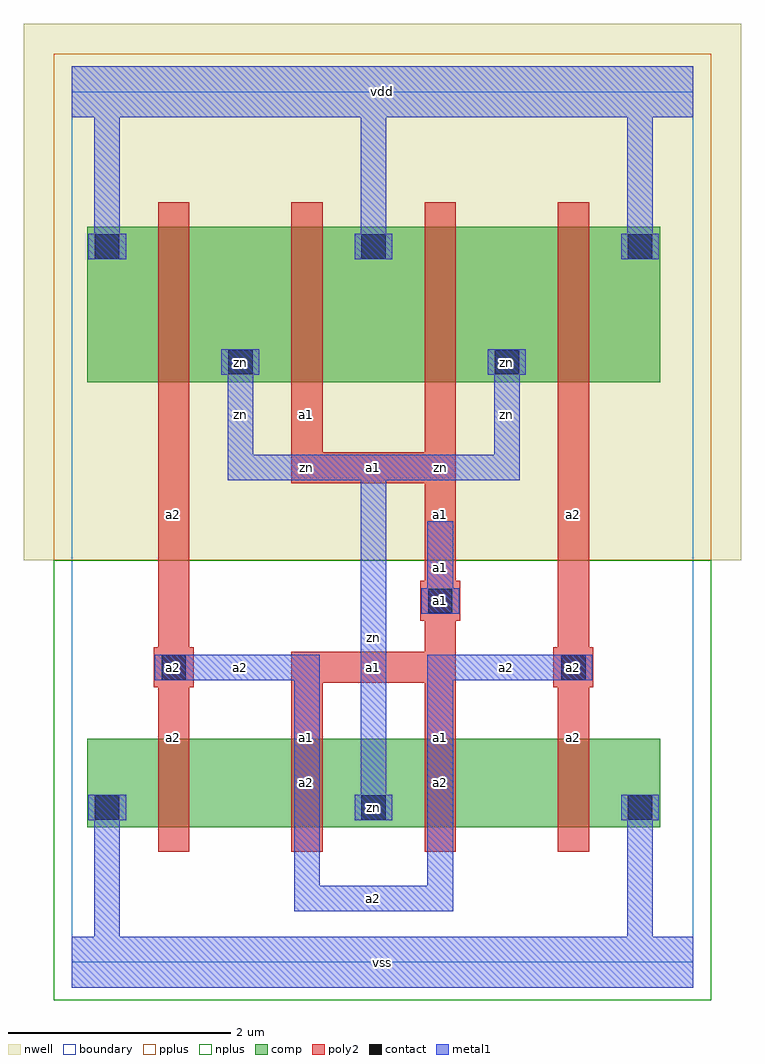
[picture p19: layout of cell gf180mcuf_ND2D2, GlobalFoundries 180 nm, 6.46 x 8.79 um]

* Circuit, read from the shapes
.subckt gf180mcuf_ND2D2 a1 a2 vdd vss zn
XM1 n1 a2 vss VSUBS nfet_03v3 w=0.8u l=0.28u
XM2 zn a1 n1 VSUBS nfet_03v3 w=0.8u l=0.28u
XM3 n2 a1 zn VSUBS nfet_03v3 w=0.8u l=0.28u
XM4 vss a2 n2 VSUBS nfet_03v3 w=0.8u l=0.28u
XM5 zn a2 vdd n3 pfet_03v3 w=1.4u l=0.28u m=2
XM6 vdd a1 zn n3 pfet_03v3 w=1.4u l=0.28u m=2
.ends

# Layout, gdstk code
import gdstk
lib = gdstk.Library(unit=1e-6, precision=1e-09)
def R(c, l, rs):  # rectangles x0, y0, x1, y1
    for r in rs: c.add(gdstk.rectangle(r[:2], r[2:], *l))
def A(c, l, x, y, w, h, nx, ny, dx, dy):  # array of equal rectangles
    R(c, l, [(x+i*dx, y+j*dy, x+i*dx+w, y+j*dy+h) for i in range(nx) for j in range(ny)])
boundary = (0, 0)
nwell = (21, 0)
comp = (22, 0)
poly2 = (30, 0)
pplus = (31, 0)
nplus = (32, 0)
contact = (33, 0)
metal1 = (34, 0)

gf180mcuf_nd2d2 = lib.new_cell('gf180mcuf_ND2D2')
R(gf180mcuf_nd2d2, boundary, [(0,0,5.6,7.84)])
R(gf180mcuf_nd2d2, nwell, [(-0.43,3.62,6.03,8.45)])
A(gf180mcuf_nd2d2, comp, 0.14, 1.215, 1.56, 0.8, 4, 1, 1.2, 0)
A(gf180mcuf_nd2d2, comp, 0.14, 1.215, 0.36, 0.36, 3, 2, 2.4, 5.05)
A(gf180mcuf_nd2d2, comp, 0.14, 5.225, 1.56, 1.4, 4, 1, 1.2, 0)
R(gf180mcuf_nd2d2, comp, [(1.34,5.225,1.7,5.585), (3.74,5.225,4.1,5.585)])
A(gf180mcuf_nd2d2, poly2, 0.78, 0.995, 0.28, 1.24, 4, 1, 1.2, 0)
A(gf180mcuf_nd2d2, poly2, 0.78, 1.255, 0.28, 1.54, 4, 1, 1.2, 0)
A(gf180mcuf_nd2d2, poly2, 0.78, 5.005, 0.28, 1.84, 4, 1, 1.2, 0)
R(gf180mcuf_nd2d2, poly2, [(0.74,2.475,1.1,2.835), (4.34,2.475,4.7,2.835), (0.78,2.515,1.06,5.545), (1.98,2.515,3.46,2.795), (3.18,2.515,3.46,5.545), (4.38,2.515,4.66,5.545), (3.14,3.075,3.5,3.435), (1.98,4.315,3.46,4.595), (1.98,4.315,2.26,5.545)])
R(gf180mcuf_nd2d2, pplus, [(-0.16,3.62,5.76,7.5), (-0.16,7.5,5.76,8.18)])
R(gf180mcuf_nd2d2, nplus, [(-0.16,-0.34,5.76,0.34), (-0.16,0.34,5.76,3.62)])
A(gf180mcuf_nd2d2, contact, 0.21, 1.285, 0.22, 0.22, 3, 2, 2.4, 5.05)
R(gf180mcuf_nd2d2, contact, [(0.81,2.545,1.03,2.765), (4.41,2.545,4.63,2.765), (3.21,3.145,3.43,3.365), (1.41,5.295,1.63,5.515), (3.81,5.295,4.03,5.515)])
A(gf180mcuf_nd2d2, metal1, 0.15, 1.28, 0.34, 0.23, 3, 2, 2.4, 5.05)
A(gf180mcuf_nd2d2, metal1, 0.205, 6.33, 0.23, 1.445, 3, 1, 2.4, 0)
R(gf180mcuf_nd2d2, metal1, [(0,-0.23,5.6,0.23), (0.205,0.065,0.435,1.51), (5.005,0.065,5.235,1.51), (2.005,0.46,3.435,0.69), (2.005,0.46,2.235,2.77), (3.205,0.46,3.435,2.77), (2.605,1.28,2.835,4.57), (0.75,2.54,1.09,2.77), (0.805,2.54,2.235,2.77), (3.205,2.54,4.635,2.77), (4.35,2.54,4.69,2.77), (3.15,3.14,3.49,3.37), (3.205,3.14,3.435,3.97), (1.405,4.34,2.835,4.57), (1.405,4.34,1.635,5.52), (2.605,4.34,4.035,4.57), (3.805,4.34,4.035,5.52), (1.35,5.29,1.69,5.52), (3.75,5.29,4.09,5.52), (0,7.61,5.6,8.07)])
gf180mcuf_nd2d2.add(gdstk.FlexPath([(0.14,0.575),(5.3,0.575)], 0, ends="flush", simple_path=True, layer=0, datatype=0))  # boundary
gf180mcuf_nd2d2.add(gdstk.FlexPath([(0.14,1.395),(5.3,1.395)], 0, ends="flush", simple_path=True, layer=0, datatype=0))  # boundary
gf180mcuf_nd2d2.add(gdstk.FlexPath([(0.14,2.655),(5.3,2.655)], 0, ends="flush", simple_path=True, layer=0, datatype=0))  # boundary
gf180mcuf_nd2d2.add(gdstk.FlexPath([(0.14,3.255),(5.3,3.255)], 0, ends="flush", simple_path=True, layer=0, datatype=0))  # boundary
gf180mcuf_nd2d2.add(gdstk.FlexPath([(0.14,3.855),(5.3,3.855)], 0, ends="flush", simple_path=True, layer=0, datatype=0))  # boundary
gf180mcuf_nd2d2.add(gdstk.FlexPath([(0.14,4.455),(5.3,4.455)], 0, ends="flush", simple_path=True, layer=0, datatype=0))  # boundary
gf180mcuf_nd2d2.add(gdstk.FlexPath([(0.14,5.405),(5.3,5.405)], 0, ends="flush", simple_path=True, layer=0, datatype=0))  # boundary
gf180mcuf_nd2d2.add(gdstk.FlexPath([(0.14,6.445),(5.3,6.445)], 0, ends="flush", simple_path=True, layer=0, datatype=0))  # boundary
gf180mcuf_nd2d2.add(gdstk.FlexPath([(0.14,7.265),(5.3,7.265)], 0, ends="flush", simple_path=True, layer=0, datatype=0))  # boundary
gf180mcuf_nd2d2.add(gdstk.FlexPath([(0.32,0.065),(0.32,7.775)], 0, ends="flush", simple_path=True, layer=0, datatype=0))  # boundary
gf180mcuf_nd2d2.add(gdstk.FlexPath([(0.92,0.065),(0.92,7.775)], 0, ends="flush", simple_path=True, layer=0, datatype=0))  # boundary
gf180mcuf_nd2d2.add(gdstk.FlexPath([(1.52,0.065),(1.52,7.775)], 0, ends="flush", simple_path=True, layer=0, datatype=0))  # boundary
gf180mcuf_nd2d2.add(gdstk.FlexPath([(2.12,0.065),(2.12,7.775)], 0, ends="flush", simple_path=True, layer=0, datatype=0))  # boundary
gf180mcuf_nd2d2.add(gdstk.FlexPath([(2.72,0.065),(2.72,7.775)], 0, ends="flush", simple_path=True, layer=0, datatype=0))  # boundary
gf180mcuf_nd2d2.add(gdstk.FlexPath([(3.32,0.065),(3.32,7.775)], 0, ends="flush", simple_path=True, layer=0, datatype=0))  # boundary
gf180mcuf_nd2d2.add(gdstk.FlexPath([(3.92,0.065),(3.92,7.775)], 0, ends="flush", simple_path=True, layer=0, datatype=0))  # boundary
gf180mcuf_nd2d2.add(gdstk.FlexPath([(4.52,0.065),(4.52,7.775)], 0, ends="flush", simple_path=True, layer=0, datatype=0))  # boundary
gf180mcuf_nd2d2.add(gdstk.FlexPath([(5.12,0.065),(5.12,7.775)], 0, ends="flush", simple_path=True, layer=0, datatype=0))  # boundary
gf180mcuf_nd2d2.add(gdstk.Label('zn', (2.72,1.395), layer=22, texttype=0))
gf180mcuf_nd2d2.add(gdstk.Label('zn', (1.52,5.405), layer=22, texttype=0))
gf180mcuf_nd2d2.add(gdstk.Label('zn', (3.92,5.405), layer=22, texttype=0))
gf180mcuf_nd2d2.add(gdstk.Label('a1', (2.12,2.025), layer=30, texttype=0))
gf180mcuf_nd2d2.add(gdstk.Label('a1', (2.72,2.655), layer=30, texttype=0))
gf180mcuf_nd2d2.add(gdstk.Label('a1', (3.32,2.025), layer=30, texttype=0))
gf180mcuf_nd2d2.add(gdstk.Label('a1', (3.32,4.03), layer=30, texttype=0))
gf180mcuf_nd2d2.add(gdstk.Label('a1', (2.72,4.455), layer=30, texttype=0))
gf180mcuf_nd2d2.add(gdstk.Label('a1', (2.12,4.93), layer=30, texttype=0))
gf180mcuf_nd2d2.add(gdstk.Label('a1', (3.32,3.255), layer=30, texttype=0))
gf180mcuf_nd2d2.add(gdstk.Label('a2', (0.92,2.025), layer=30, texttype=0))
gf180mcuf_nd2d2.add(gdstk.Label('a2', (0.92,2.655), layer=30, texttype=0))
gf180mcuf_nd2d2.add(gdstk.Label('a2', (4.52,2.655), layer=30, texttype=0))
gf180mcuf_nd2d2.add(gdstk.Label('a2', (4.52,2.025), layer=30, texttype=0))
gf180mcuf_nd2d2.add(gdstk.Label('a2', (0.92,4.03), layer=30, texttype=0))
gf180mcuf_nd2d2.add(gdstk.Label('a2', (4.52,4.03), layer=30, texttype=0))
gf180mcuf_nd2d2.add(gdstk.Label('zn', (2.72,1.395), layer=33, texttype=0))
gf180mcuf_nd2d2.add(gdstk.Label('zn', (1.52,5.405), layer=33, texttype=0))
gf180mcuf_nd2d2.add(gdstk.Label('zn', (3.92,5.405), layer=33, texttype=0))
gf180mcuf_nd2d2.add(gdstk.Label('a1', (3.32,3.255), layer=33, texttype=0))
gf180mcuf_nd2d2.add(gdstk.Label('a2', (0.92,2.655), layer=33, texttype=0))
gf180mcuf_nd2d2.add(gdstk.Label('a2', (4.52,2.655), layer=33, texttype=0))
gf180mcuf_nd2d2.add(gdstk.Label('zn', (2.72,1.395), layer=34, texttype=10))
gf180mcuf_nd2d2.add(gdstk.Label('zn', (1.52,5.405), layer=34, texttype=10))
gf180mcuf_nd2d2.add(gdstk.Label('zn', (3.92,5.405), layer=34, texttype=10))
gf180mcuf_nd2d2.add(gdstk.Label('zn', (2.72,2.925), layer=34, texttype=10))
gf180mcuf_nd2d2.add(gdstk.Label('zn', (2.12,4.455), layer=34, texttype=10))
gf180mcuf_nd2d2.add(gdstk.Label('zn', (1.52,4.93), layer=34, texttype=10))
gf180mcuf_nd2d2.add(gdstk.Label('zn', (3.32,4.455), layer=34, texttype=10))
gf180mcuf_nd2d2.add(gdstk.Label('zn', (3.92,4.93), layer=34, texttype=10))
gf180mcuf_nd2d2.add(gdstk.Label('a1', (3.32,3.255), layer=34, texttype=10))
gf180mcuf_nd2d2.add(gdstk.Label('a1', (3.32,3.555), layer=34, texttype=10))
gf180mcuf_nd2d2.add(gdstk.Label('a2', (0.92,2.655), layer=34, texttype=10))
gf180mcuf_nd2d2.add(gdstk.Label('a2', (1.52,2.655), layer=34, texttype=10))
gf180mcuf_nd2d2.add(gdstk.Label('a2', (2.12,1.615), layer=34, texttype=10))
gf180mcuf_nd2d2.add(gdstk.Label('a2', (2.72,0.575), layer=34, texttype=10))
gf180mcuf_nd2d2.add(gdstk.Label('a2', (3.32,1.615), layer=34, texttype=10))
gf180mcuf_nd2d2.add(gdstk.Label('a2', (3.92,2.655), layer=34, texttype=10))
gf180mcuf_nd2d2.add(gdstk.Label('a2', (4.52,2.655), layer=34, texttype=10))
gf180mcuf_nd2d2.add(gdstk.Label('vss', (2.8,0), layer=34, texttype=10))
gf180mcuf_nd2d2.add(gdstk.Label('vdd', (2.8,7.84), layer=34, texttype=10))

lib.write_gds('gf180mcuf_ND2D2.gds')
